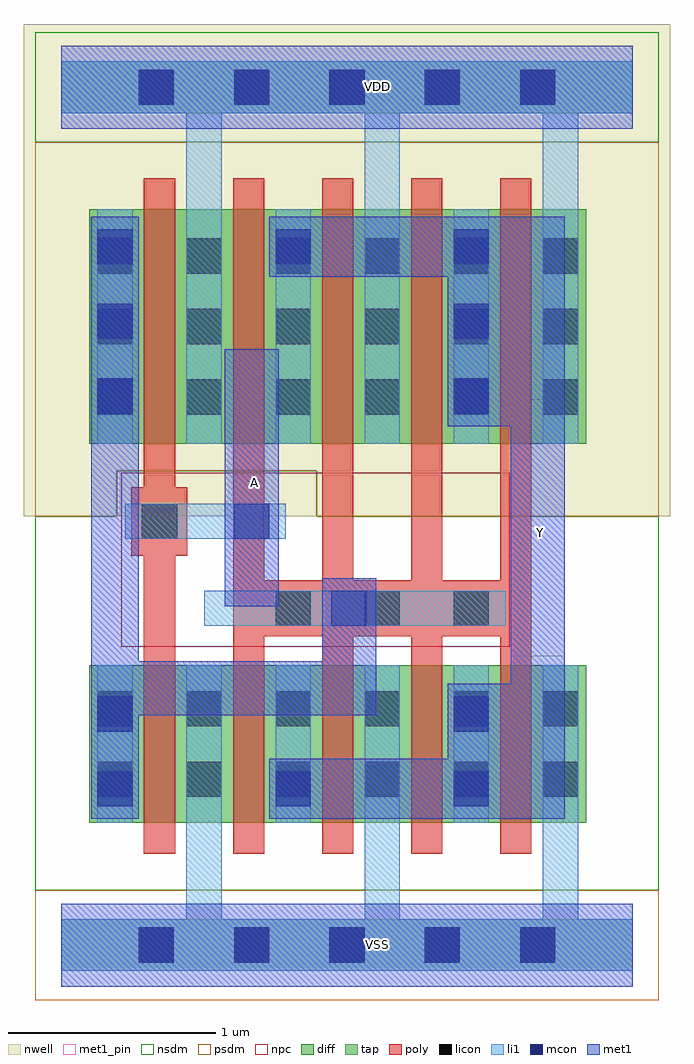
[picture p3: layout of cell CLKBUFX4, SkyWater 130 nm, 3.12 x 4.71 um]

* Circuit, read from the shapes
.subckt CLKBUFX4 A VDD VSS Y
XM1 VSS A n1 VSS sky130_fd_pr__nfet_01v8 w=0.76 l=0.15
XM2 Y n1 VSS VSS sky130_fd_pr__nfet_01v8 w=0.76 l=0.15 m=4
XM3 VDD A n1 VDD sky130_fd_pr__pfet_01v8 w=1.13 l=0.15
XM4 Y n1 VDD VDD sky130_fd_pr__pfet_01v8 w=1.13 l=0.15 m=4
.ends

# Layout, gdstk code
import gdstk
lib = gdstk.Library(unit=1e-6, precision=1e-09)
def R(c, l, rs):  # rectangles x0, y0, x1, y1
    for r in rs: c.add(gdstk.rectangle(r[:2], r[2:], *l))
def A(c, l, x, y, w, h, nx, ny, dx, dy):  # array of equal rectangles
    R(c, l, [(x+i*dx, y+j*dy, x+i*dx+w, y+j*dy+h) for i in range(nx) for j in range(ny)])
def P(c, l, *ps):  # polygons
    for p in ps: c.add(gdstk.Polygon(p, *l))
nwell = (64, 20)
diff = (65, 20)
tap = (65, 44)
poly = (66, 20)
licon = (66, 44)
li1 = (67, 20)
mcon = (67, 44)
met1_pin = (68, 16)
met1 = (68, 20)
nsdm = (93, 44)
psdm = (94, 20)
npc = (95, 20)

clkbufx4 = lib.new_cell('CLKBUFX4')
R(clkbufx4, nwell, [(-0.18,2.07,2.94,4.445)])
R(clkbufx4, diff, [(0.135,0.59,2.535,1.35), (0.135,2.42,2.535,3.55)])
A(clkbufx4, poly, 0.4, 0.44, 0.15, 3.26, 5, 1, 0.43, 0)
A(clkbufx4, poly, 0.955, 1.49, 0.33, 0.27, 3, 1, 0.43, 0)
R(clkbufx4, poly, [(0.34,1.88,0.61,2.21)])
A(clkbufx4, licon, 0.375, -0.085, 0.17, 0.17, 5, 2, 0.46, 4.14)
A(clkbufx4, licon, 0.175, 0.715, 0.17, 0.17, 6, 2, 0.43, 0.34)
A(clkbufx4, licon, 1.035, 1.54, 0.17, 0.17, 3, 1, 0.43, 0)
A(clkbufx4, licon, 0.175, 2.56, 0.17, 0.17, 6, 3, 0.43, 0.34)
R(clkbufx4, licon, [(0.39,1.96,0.56,2.13)])
A(clkbufx4, li1, 0.175, 0.59, 0.17, 0.76, 3, 1, 0.86, 0)
A(clkbufx4, li1, 0.175, 2.42, 0.17, 1.13, 3, 1, 0.86, 0)
R(clkbufx4, li1, [(0.175,0.59,0.345,1.28), (1.035,0.59,1.205,0.92), (1.895,0.59,2.065,1.28), (1.225,1.54,1.555,1.71), (0.755,1.96,1.085,2.13), (0.175,2.485,0.345,3.535), (1.895,2.485,2.065,3.535), (1.035,3.205,1.205,3.535)])
P(clkbufx4, li1, [(2.76,0.125),(2.495,0.125),(2.495,1.35),(2.325,1.35),(2.325,0.125),(1.635,0.125),(1.635,1.35),(1.465,1.35),(1.465,0.125),(0.775,0.125),(0.775,1.35),(0.605,1.35),(0.605,0.125),(0,0.125),(0,-0.125),(2.76,-0.125)],
  [(2.76,4.265),(0,4.265),(0,4.015),(0.605,4.015),(0.605,2.42),(0.775,2.42),(0.775,4.015),(1.465,4.015),(1.465,2.42),(1.635,2.42),(1.635,4.015),(2.325,4.015),(2.325,2.42),(2.495,2.42),(2.495,4.015),(2.76,4.015)])
A(clkbufx4, mcon, 0.375, -0.085, 0.17, 0.17, 5, 2, 0.46, 4.14)
A(clkbufx4, mcon, 0.175, 0.67, 0.17, 0.17, 3, 2, 0.86, 2.615)
R(clkbufx4, mcon, [(0.175,1.03,0.345,1.2), (1.895,1.03,2.065,1.2), (1.305,1.54,1.475,1.71), (0.835,1.96,1.005,2.13), (0.175,2.565,0.345,2.735), (1.895,2.565,2.065,2.735), (0.175,2.925,0.345,3.095), (1.895,2.925,2.065,3.095)])
R(clkbufx4, met1_pin, [(2.17,1.395,2.43,2.635), (0.79,1.635,1.05,2.875)])
R(clkbufx4, met1, [(0.145,0.61,0.375,1.26), (1.005,0.61,1.235,0.9), (1.865,0.61,2.095,1.26), (1.26,1.17,1.52,1.77), (0.805,1.9,1.035,2.19), (0.145,2.505,0.375,3.515), (1.865,2.505,2.095,3.515), (1.005,3.225,1.235,3.515)])
P(clkbufx4, met1, [(1.52,1.625),(1.26,1.625),(1.26,1.37),(0.375,1.37),(0.375,3.01),(0.145,3.01),(0.145,1.11),(1.52,1.11)],
  [(2.43,3.515),(1.12,3.515),(1.12,3.225),(1.865,3.225),(1.865,2.505),(2.17,2.505),(2.17,1.26),(1.865,1.26),(1.865,0.9),(1.12,0.9),(1.12,0.61),(2.43,0.61)])
R(clkbufx4, nsdm, [(-0.125,3.875,2.885,4.405)])
P(clkbufx4, nsdm, [(2.885,2.07),(1.235,2.07),(1.235,2.29),(0.27,2.29),(0.27,2.07),(-0.125,2.07),(-0.125,0.265),(2.885,0.265)])
R(clkbufx4, psdm, [(-0.125,-0.265,2.885,0.265)])
P(clkbufx4, psdm, [(2.885,3.875),(-0.125,3.875),(-0.125,2.07),(0.27,2.07),(0.27,2.29),(1.235,2.29),(1.235,2.07),(2.885,2.07)])
A(clkbufx4, npc, 0.935, 1.44, 0.37, 0.37, 3, 1, 0.43, 0)
R(clkbufx4, npc, [(0.29,1.44,2.165,2.28), (0.29,1.86,0.66,2.23)])
clkbufx4.add(gdstk.FlexPath([(0.69,1.625),(2.145,1.625)], 0.17, ends="flush", simple_path=True, layer=67, datatype=20))  # li1
clkbufx4.add(gdstk.FlexPath([(0.31,2.045),(0.92,2.045)], 0.17, ends="flush", simple_path=True, layer=67, datatype=20))  # li1
clkbufx4.add(gdstk.FlexPath([(0.92,1.635),(0.92,2.875)], 0.26, ends="flush", simple_path=True, layer=68, datatype=20))  # met1
clkbufx4.add(gdstk.FlexPath([(0,4.14),(2.76,4.14)], 0.4, ends="flush", simple_path=True, layer=68, datatype=20))  # met1
clkbufx4.add(gdstk.FlexPath([(0,0),(2.76,0)], 0.4, ends="flush", simple_path=True, layer=68, datatype=20))  # met1
clkbufx4.add(gdstk.FlexPath([(0,4.14),(2.76,4.14)], 0.25, ends="flush", simple_path=True, layer=65, datatype=44))  # tap
clkbufx4.add(gdstk.FlexPath([(0,0),(2.76,0)], 0.25, ends="flush", simple_path=True, layer=65, datatype=44))  # tap
clkbufx4.add(gdstk.FlexPath([(0,4.14),(2.76,4.14)], 0.4, ends="flush", simple_path=True, layer=68, datatype=16))  # met1_pin
clkbufx4.add(gdstk.FlexPath([(0,0),(2.76,0)], 0.4, ends="flush", simple_path=True, layer=68, datatype=16))  # met1_pin
clkbufx4.add(gdstk.Label('VDD', (1.525,4.145), layer=68, texttype=5))
clkbufx4.add(gdstk.Label('VDD', (1.525,4.145), layer=68, texttype=5))
clkbufx4.add(gdstk.Label('A', (0.935,2.23), layer=68, texttype=5))
clkbufx4.add(gdstk.Label('VSS', (1.525,0.005), layer=68, texttype=5))
clkbufx4.add(gdstk.Label('Y', (2.315,1.99), layer=68, texttype=5))

lib.write_gds('CLKBUFX4.gds')
